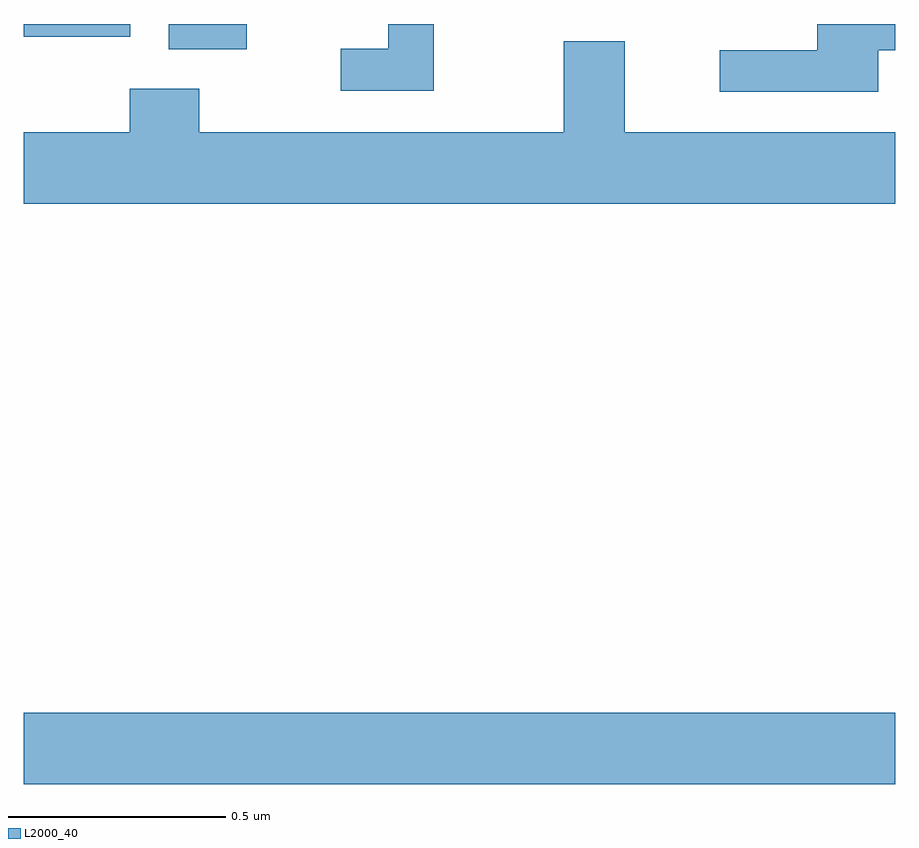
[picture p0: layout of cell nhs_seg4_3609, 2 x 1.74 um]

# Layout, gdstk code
import gdstk
lib = gdstk.Library(unit=1e-6, precision=1e-09)
def R(c, l, rs):  # rectangles x0, y0, x1, y1
    for r in rs: c.add(gdstk.rectangle(r[:2], r[2:], *l))
def P(c, l, *ps):  # polygons
    for p in ps: c.add(gdstk.Polygon(p, *l))
L2000_40 = (2000, 40)

nhs_seg4_3609 = lib.new_cell('nhs_seg4_3609')
R(nhs_seg4_3609, L2000_40, [(155,794.156,157,794.32), (155.333,795.842,155.512,795.9), (155,795.871,155.244,795.9)])
P(nhs_seg4_3609, L2000_40, [(156.961,795.84),(157,795.84),(157,795.9),(156.821,795.9),(156.821,795.84),(156.597,795.84),(156.597,795.744),(156.961,795.744)],
  [(155.941,795.9),(155.837,795.9),(155.837,795.843),(155.727,795.843),(155.727,795.747),(155.941,795.747)],
  [(157,795.652),(156.379,795.652),(156.379,795.86),(156.239,795.86),(156.239,795.652),(155.403,795.652),(155.403,795.751),(155.243,795.751),(155.243,795.652),(155,795.652),(155,795.488),(157,795.488)])

lib.write_gds('nhs_seg4_3609.gds')
